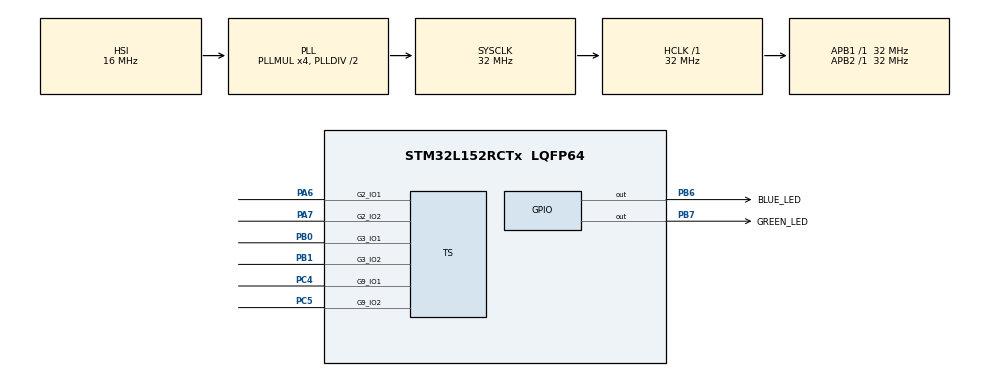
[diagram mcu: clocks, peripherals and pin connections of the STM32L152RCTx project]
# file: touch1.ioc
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Mcu.Family=STM32L1
RCC.MSI_VALUE=2097000
PA6.Mode=G2_IO1-Channel
TOUCHSENSING.IO_TOUCHKEY1-TouchSensing_Enabled=G3_IO1
PA7.Mode=G2_IO2-Sampling
TS.SamplingIOs-G9_IO2-Sampling=TSC_GROUP9_IO2
PC4.Signal=TS_G9_IO1
TS.SamplingIOs-G3_IO2=TSC_GROUP3_IO2
PB6.GPIO_Label=BLUE_LED
PC5.Mode=G9_IO2-Sampling
RCC.SYSCLKSource=RCC_SYSCLKSOURCE_PLLCLK
ProjectManager.StackSize=0x400
PA13.Signal=SYS_JTMS-SWDIO
ProjectManager.TargetToolchain=STM32CubeIDE
TS.SamplingIOs-G2_IO2=TSC_GROUP2_IO2
RCC.HCLKFreq_Value=32000000
RCC.APB2TimFreq_Value=32000000
PB6.Signal=GPIO_Output
TOUCHSENSING.TSLPRM_TOTAL_TOUCHKEYS_B=3
TS.SamplingIOs-G9_IO2=TSC_GROUP9_IO2
TS.SamplingIOs-G3_IO2-Sampling=TSC_GROUP3_IO2
RCC.LSE_VALUE=32768
RCC.AHBFreq_Value=32000000
VP_TOUCHSENSING_VS_TOUCHSENSING.Mode=TouchSensing_Enabled
RCC.HSE_VALUE=24000000
TOUCHSENSING.TSLPRM_TOTAL_TOUCHKEYS=0
PB0.Mode=G3_IO1-Channel
PB3.Mode=Trace_Asynchronous_SW
board=custom
RCC.VCOOutputFreq_Value=64000000
RCC.PLLMUL=RCC_PLL_MUL4
RCC.APB2Freq_Value=32000000
PA14.Mode=Trace_Asynchronous_SW
TOUCHSENSING.TSLPRM_SENSORS_DATAS=TSLPRM_TOTAL_TOUCHKEYS_B 1 3 
PB7.Signal=GPIO_Output
TOUCHSENSING.TOUCHSENSING_MODE=hardware
PA13.Mode=Trace_Asynchronous_SW
Mcu.Name=STM32L152RCTx
PB7.GPIO_Label=GREEN_LED
RCC.48MHZClocksFreq_Value=32000000
PB3.Signal=SYS_JTDO-TRACESWO
RCC.SYSCLKFreq_VALUE=32000000
Mcu.Package=LQFP64
PA6.Signal=TS_G2_IO1
PB1.Signal=TS_G3_IO2
TOUCHSENSING.IO_TOUCHKEY_B1=G2_IO1
PA14.Signal=SYS_JTCK-SWCLK
TOUCHSENSING.IO_TOUCHKEY_B3=G9_IO1
TOUCHSENSING.IO_TOUCHKEY_B2=G3_IO1
ProjectManager.HeapSize=0x200
PB1.Mode=G3_IO2-Sampling
RCC.HSI_VALUE=16000000
NVIC.PriorityGroup=NVIC_PRIORITYGROUP_4
RCC.APB1TimFreq_Value=32000000
PC5.Signal=TS_G9_IO2
TS.SamplingIOs-G2_IO2-Sampling=TSC_GROUP2_IO2
RCC.APB1Freq_Value=32000000
PB0.Signal=TS_G3_IO1
PC4.Mode=G9_IO1-Channel
PA7.Signal=TS_G2_IO2

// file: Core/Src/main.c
/* USER CODE BEGIN Header */
/**
 ******************************************************************************
 * @file           : main.c
 * @brief          : Main program body
 ******************************************************************************
 * @attention
 *
 * <h2><center>&copy; Copyright (c) 2021 STMicroelectronics.
 * All rights reserved.</center></h2>
 *
 * This software component is licensed by ST under BSD 3-Clause license,
 * the "License"; You may not use this file except in compliance with the
 * License. You may obtain a copy of the License at:
 *                        opensource.org/licenses/BSD-3-Clause
 *
 ******************************************************************************
 */
/* USER CODE END Header */
#include "main.h"
#include "touchsensing.h"

/* USER CODE BEGIN Includes */
#include "stdio.h"
/* USER CODE END Includes */

/* USER CODE BEGIN PV */
extern const TSL_TouchKey_T MyTKeys[];
/* USER CODE END PV */

void SystemClock_Config(void);
static void MX_GPIO_Init(void);
static void MX_TS_Init(void);

/* USER CODE BEGIN 0 */

int _write(int32_t file, uint8_t *ptr, int32_t len) {
	for (int i = 0; i < len; i++) {
		ITM_SendChar(*ptr++);
	}
	return len;
}

/* USER CODE END 0 */

int main(void) {

	/* MCU Configuration--------------------------------------------------------*/

	/* Reset of all peripherals, Initializes the Flash interface and the Systick. */
	HAL_Init();

	/* Configure the system clock */
	SystemClock_Config();

	/* Initialize all configured peripherals */
	MX_GPIO_Init();
	MX_TS_Init();
	MX_TOUCHSENSING_Init();
	/* USER CODE BEGIN 2 */

	printf("Appliction Starting!\n");

	/* USER CODE END 2 */

	/* Infinite loop */
	/* USER CODE BEGIN WHILE */

	//uint32_t then = 0, now = 0;

	for (;;) {

		extern const TSL_TouchKey_T MyTKeys[];

		static uint32_t cnt = 0;
		tsl_user_status_t status = TSL_USER_STATUS_BUSY;
		status = tsl_user_Exec();
		if (TSL_USER_STATUS_BUSY == status) {
			// Nothing to do
			if (cnt++ % 50 == 0) {
			}
			HAL_Delay(1);
		} else {
			HAL_GPIO_WritePin(GREEN_LED_GPIO_Port, GREEN_LED_Pin, GPIO_PIN_RESET); //00
			HAL_GPIO_WritePin(BLUE_LED_GPIO_Port, BLUE_LED_Pin, GPIO_PIN_RESET);
			if (MyTKeys[0].p_Data->StateId == TSL_STATEID_DETECT) {
				HAL_GPIO_WritePin(GREEN_LED_GPIO_Port, GREEN_LED_Pin, GPIO_PIN_SET); //11
				HAL_GPIO_WritePin(BLUE_LED_GPIO_Port, BLUE_LED_Pin, GPIO_PIN_SET);
			}
//			if (MyTKeys[1].p_Data->StateId == TSL_STATEID_DETECT) {
//				HAL_GPIO_WritePin(GREEN_LED_GPIO_Port, GREEN_LED_Pin, GPIO_PIN_SET); //01
//				HAL_GPIO_WritePin(BLUE_LED_GPIO_Port, BLUE_LED_Pin, GPIO_PIN_RESET);
//			}
//			if (MyTKeys[2].p_Data->StateId == TSL_STATEID_DETECT) {
//				HAL_GPIO_WritePin(GREEN_LED_GPIO_Port, GREEN_LED_Pin, GPIO_PIN_RESET); //01
//				HAL_GPIO_WritePin(BLUE_LED_GPIO_Port, BLUE_LED_Pin, GPIO_PIN_SET);
//			}
		}

//	now = HAL_GetTick();
//	if (now % 500 == 0 && now != then) {
//
//		HAL_GPIO_TogglePin(GREEN_LED_GPIO_Port, GREEN_LED_Pin);
//
//		if (now % 1000 == 0) {
//
//			tsl_user_status_t status = tsl_user_Exec();
//			if (status != TSL_USER_STATUS_BUSY) {
//
//			}
//
//			printf("Tick!  now = %lu\n", now / 1000);
//
//		}
//
//		then = now;
//	}

		/* USER CODE END WHILE */

	}
}

void SystemClock_Config(void) {
	RCC_OscInitTypeDef RCC_OscInitStruct = { 0 };
	RCC_ClkInitTypeDef RCC_ClkInitStruct = { 0 };

	/** Configure the main internal regulator output voltage
	 */
	__HAL_PWR_VOLTAGESCALING_CONFIG(PWR_REGULATOR_VOLTAGE_SCALE1);
	/** Initializes the RCC Oscillators according to the specified parameters
	 * in the RCC_OscInitTypeDef structure.
	 */
	RCC_OscInitStruct.OscillatorType = RCC_OSCILLATORTYPE_HSI;
	RCC_OscInitStruct.HSIState = RCC_HSI_ON;
	RCC_OscInitStruct.HSICalibrationValue = RCC_HSICALIBRATION_DEFAULT;
	RCC_OscInitStruct.PLL.PLLState = RCC_PLL_ON;
	RCC_OscInitStruct.PLL.PLLSource = RCC_PLLSOURCE_HSI;
	RCC_OscInitStruct.PLL.PLLMUL = RCC_PLL_MUL4;
	RCC_OscInitStruct.PLL.PLLDIV = RCC_PLL_DIV2;
	if (HAL_RCC_OscConfig(&RCC_OscInitStruct) != HAL_OK) {
		Error_Handler();
	}
	/** Initializes the CPU, AHB and APB buses clocks
	 */
	RCC_ClkInitStruct.ClockType = RCC_CLOCKTYPE_HCLK | RCC_CLOCKTYPE_SYSCLK
			| RCC_CLOCKTYPE_PCLK1 | RCC_CLOCKTYPE_PCLK2;
	RCC_ClkInitStruct.SYSCLKSource = RCC_SYSCLKSOURCE_PLLCLK;
	RCC_ClkInitStruct.AHBCLKDivider = RCC_SYSCLK_DIV1;
	RCC_ClkInitStruct.APB1CLKDivider = RCC_HCLK_DIV1;
	RCC_ClkInitStruct.APB2CLKDivider = RCC_HCLK_DIV1;

	if (HAL_RCC_ClockConfig(&RCC_ClkInitStruct, FLASH_LATENCY_1) != HAL_OK) {
		Error_Handler();
	}
}

static void MX_TS_Init(void) {

}

static void MX_GPIO_Init(void) {
	GPIO_InitTypeDef GPIO_InitStruct = { 0 };

	/* GPIO Ports Clock Enable */
	__HAL_RCC_GPIOA_CLK_ENABLE();
	__HAL_RCC_GPIOC_CLK_ENABLE();
	__HAL_RCC_GPIOB_CLK_ENABLE();

	/*Configure GPIO pin Output Level */
	HAL_GPIO_WritePin(GPIOB, BLUE_LED_Pin | GREEN_LED_Pin, GPIO_PIN_RESET);

	/*Configure GPIO pins : BLUE_LED_Pin GREEN_LED_Pin */
	GPIO_InitStruct.Pin = BLUE_LED_Pin | GREEN_LED_Pin;
	GPIO_InitStruct.Mode = GPIO_MODE_OUTPUT_PP;
	GPIO_InitStruct.Pull = GPIO_NOPULL;
	GPIO_InitStruct.Speed = GPIO_SPEED_FREQ_LOW;
	HAL_GPIO_Init(GPIOB, &GPIO_InitStruct);

}

void Error_Handler(void) {
	__disable_irq();
	while (1) {
	}
}

/************************ (C) COPYRIGHT STMicroelectronics *****END OF FILE****/
